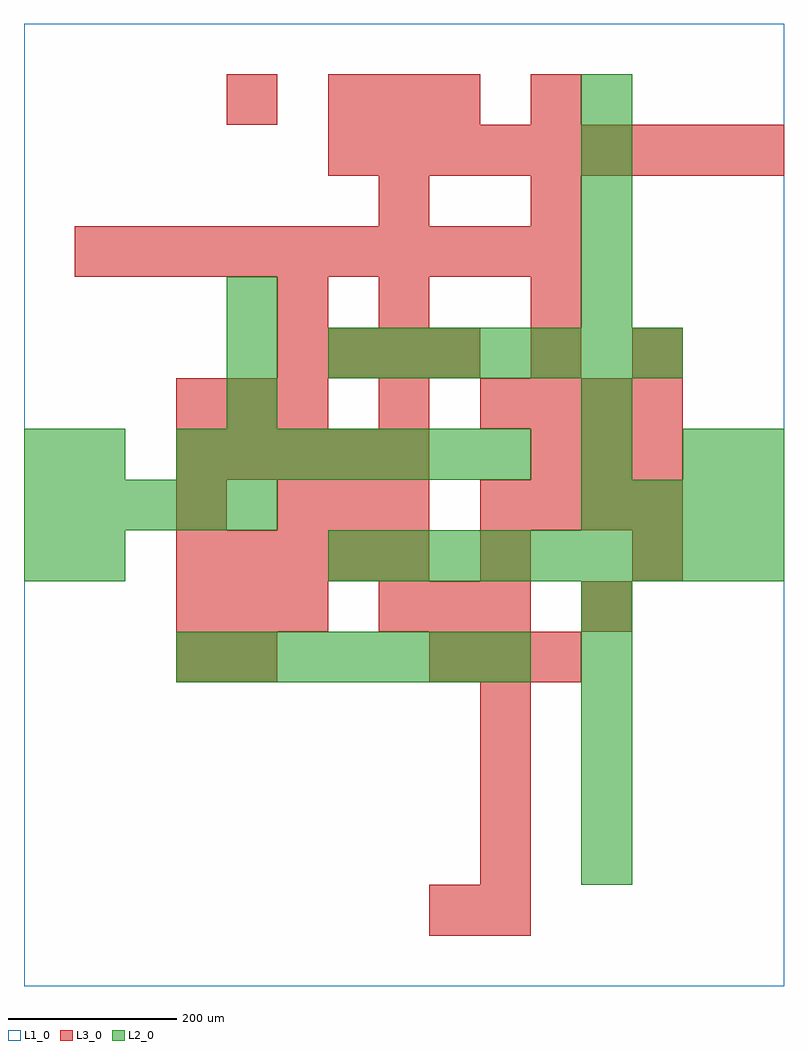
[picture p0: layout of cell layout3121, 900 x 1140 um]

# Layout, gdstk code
import gdstk
lib = gdstk.Library(unit=1e-6, precision=1e-09)
def R(c, l, rs):  # rectangles x0, y0, x1, y1
    for r in rs: c.add(gdstk.rectangle(r[:2], r[2:], *l))
def A(c, l, x, y, w, h, nx, ny, dx, dy):  # array of equal rectangles
    R(c, l, [(x+i*dx, y+j*dy, x+i*dx+w, y+j*dy+h) for i in range(nx) for j in range(ny)])
L1_0 = (1, 0)
L2_0 = (2, 0)
L3_0 = (3, 0)

layout3121 = lib.new_cell('layout3121')
R(layout3121, L1_0, [(0,0,900,1140)])
A(layout3121, L2_0, 660, 120, 60, 60, 1, 6, 0, 60)
A(layout3121, L2_0, 180, 360, 60, 60, 7, 2, 60, 240)
A(layout3121, L2_0, 360, 480, 60, 60, 9, 1, 60, 0)
A(layout3121, L2_0, 0, 540, 60, 60, 5, 1, 60, 0)
A(layout3121, L2_0, 660, 540, 60, 60, 4, 1, 60, 0)
A(layout3121, L2_0, 240, 660, 60, 60, 1, 3, 0, 60)
A(layout3121, L2_0, 360, 720, 60, 60, 7, 1, 60, 0)
A(layout3121, L2_0, 660, 780, 60, 60, 1, 5, 0, 60)
R(layout3121, L2_0, [(0,480,60,540), (60,480,120,540), (0,600,60,660), (60,600,120,660), (660,600,720,660), (780,600,840,660), (840,600,900,660), (660,660,720,720)])
A(layout3121, L3_0, 540, 60, 60, 60, 1, 5, 0, 60)
A(layout3121, L3_0, 480, 360, 60, 60, 3, 1, 60, 0)
A(layout3121, L3_0, 180, 420, 60, 60, 3, 2, 60, 240)
A(layout3121, L3_0, 420, 420, 60, 60, 3, 1, 60, 0)
A(layout3121, L3_0, 180, 480, 60, 60, 5, 2, 60, 120)
A(layout3121, L3_0, 300, 540, 60, 60, 3, 1, 60, 0)
A(layout3121, L3_0, 540, 540, 60, 60, 4, 2, 60, 120)
A(layout3121, L3_0, 600, 600, 60, 60, 3, 1, 60, 0)
A(layout3121, L3_0, 420, 660, 60, 60, 1, 3, 0, 120)
A(layout3121, L3_0, 300, 720, 60, 60, 4, 1, 60, 0)
A(layout3121, L3_0, 600, 780, 60, 60, 1, 3, 0, 120)
A(layout3121, L3_0, 60, 840, 60, 60, 10, 1, 60, 0)
A(layout3121, L3_0, 360, 960, 60, 60, 9, 1, 60, 0)
A(layout3121, L3_0, 360, 1020, 60, 60, 3, 1, 60, 0)
R(layout3121, L3_0, [(480,60,540,120), (180,360,240,420), (240,360,300,420), (660,420,720,480), (540,480,600,540), (720,480,780,540), (180,540,240,600), (600,720,660,780), (720,720,780,780), (300,780,360,840), (240,1020,300,1080)])

lib.write_gds('layout3121.gds')
